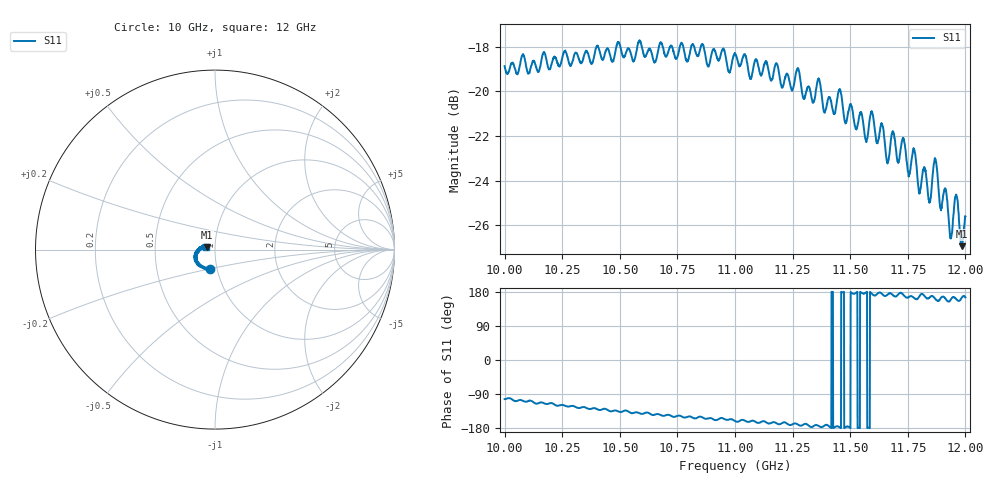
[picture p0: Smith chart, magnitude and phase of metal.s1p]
[Version] 2.0
! Rohde & Schwarz Vector Network Analyzer
! Rohde-Schwarz,ZNL20-2Port,1323001220200009,1.71.1.10-23.02.1.238
! Port Assignments:
! Nominal Port -> Actual Test Port
!  1 -> 1
! Created: GMT 2024-09-05 11:10:21
# Hz S DB R 50
[Number of Ports] 1
! freq[Hz]  S11[mag dB]  S11[ang]
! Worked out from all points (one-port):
!   2001 points, 10 GHz to 12 GHz, reference 50 ohm
!   lowest |S11| = -26.9 dB at 11.98 GHz (marker M1), VSWR 1.09, Z = 45.8 + j1.12 ohm
!   |S11| at or under -10 dB: start of sweep to end of sweep
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[Number of Frequencies] 28
[Network Data]
1e10  -18.87 -103.2
1.025e10  -18.51 -118.3
1.05e10  -17.93 -136.9
1.075e10  -18.44 -147.4
1.1e10  -18.29 -161.0
1.125e10  -19.94 -169.4
1.1272e10  -18.98 -169.8
1.1299e10  -20.34 -169.7
1.1363e10  -19.42 -173.7
1.1389e10  -20.96 -172.6
1.15e10  -20.59 -179.3
1.1569e10  -22.24 178.3
1.1592e10  -20.93 176.0
1.1638e10  -21.47 174.5
1.1662e10  -23.24 172.3
1.1685e10  -21.78 171.4
1.1708e10  -23.21 172.6
1.1731e10  -22.17 171.8
1.175e10  -23.58 164.5
1.1777e10  -22.60 163.9
1.1799e10  -24.57 167.0
1.1822e10  -23.41 169.5
1.1844e10  -24.94 164.7
1.187e10  -23.07 160.7
1.1935e10  -26.58 157.9
1.196e10  -24.63 161.1
1.1984e10  -26.94 164.2
1.2e10  -25.61 165.3
[End]
